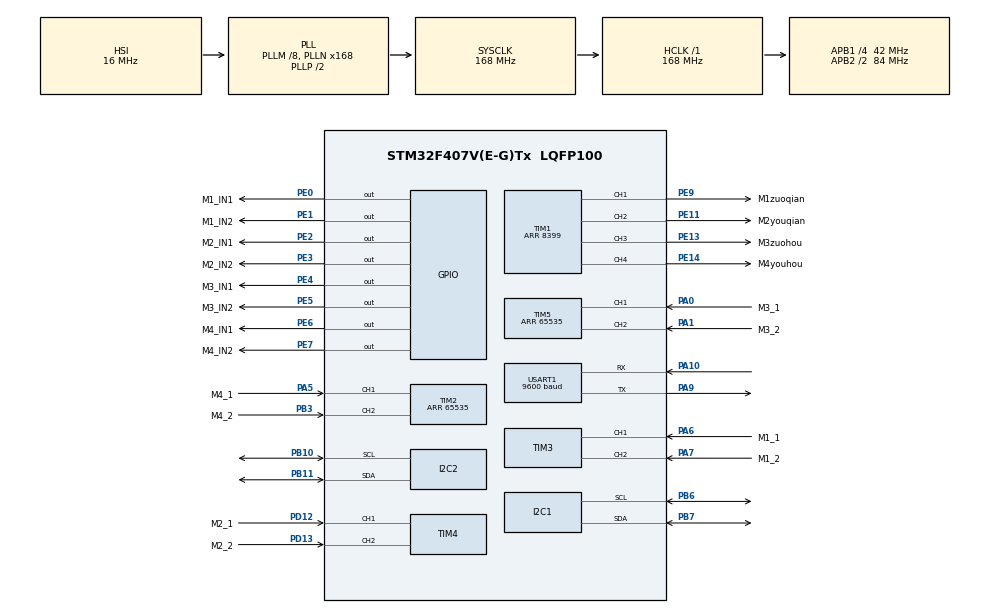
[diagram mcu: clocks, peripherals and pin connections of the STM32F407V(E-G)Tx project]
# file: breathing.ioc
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I2C2.I2C_Mode=I2C_Fast
Mcu.Family=STM32F4
Mcu.Name=STM32F407V(E-G)Tx
Mcu.Package=LQFP100
NVIC.PriorityGroup=NVIC_PRIORITYGROUP_4
NVIC.USART1_IRQn=true\:5\:0\:true\:false\:true\:true\:true\:true
PA0-WKUP.GPIO_Label=M3_1
PA0-WKUP.GPIO_PuPd=GPIO_PULLUP
PA0-WKUP.Signal=S_TIM5_CH1
PA1.GPIO_Label=M3_2
PA1.GPIO_PuPd=GPIO_PULLUP
PA1.Signal=S_TIM5_CH2
PA10.Mode=Asynchronous
PA10.Signal=USART1_RX
PA13.Mode=Serial_Wire
PA13.Signal=SYS_JTMS-SWDIO
PA14.Mode=Serial_Wire
PA14.Signal=SYS_JTCK-SWCLK
PA5.GPIO_Label=M4_1
PA5.GPIO_PuPd=GPIO_PULLUP
PA5.Signal=S_TIM2_CH1_ETR
PA6.GPIO_Label=M1_1
PA6.GPIO_PuPd=GPIO_PULLUP
PA6.Signal=S_TIM3_CH1
PA7.GPIO_Label=M1_2
PA7.GPIO_PuPd=GPIO_PULLUP
PA7.Signal=S_TIM3_CH2
PA9.Mode=Asynchronous
PA9.Signal=USART1_TX
PB10.Mode=I2C
PB10.Signal=I2C2_SCL
PB11.Mode=I2C
PB11.Signal=I2C2_SDA
PB3.GPIO_Label=M4_2
PB3.GPIO_PuPd=GPIO_PULLUP
PB3.Signal=S_TIM2_CH2
PB6.Mode=I2C
PB6.Signal=I2C1_SCL
PB7.Mode=I2C
PB7.Signal=I2C1_SDA
PC14-OSC32_IN.Mode=LSE-External-Oscillator
PC14-OSC32_IN.Signal=RCC_OSC32_IN
PC15-OSC32_OUT.Mode=LSE-External-Oscillator
PC15-OSC32_OUT.Signal=RCC_OSC32_OUT
PD12.GPIO_Label=M2_1
PD12.GPIO_PuPd=GPIO_PULLUP
PD12.Signal=S_TIM4_CH1
PD13.GPIO_Label=M2_2
PD13.GPIO_PuPd=GPIO_PULLUP
PD13.Signal=S_TIM4_CH2
PE0.GPIO_Label=M1_IN1
PE0.GPIO_Speed=GPIO_SPEED_FREQ_HIGH
PE0.Signal=GPIO_Output
PE1.GPIO_Label=M1_IN2
PE1.GPIO_Speed=GPIO_SPEED_FREQ_HIGH
PE1.Signal=GPIO_Output
PE11.GPIO_Label=M2youqian
PE11.Signal=S_TIM1_CH2
PE13.GPIO_Label=M3zuohou
PE13.Signal=S_TIM1_CH3
PE14.GPIO_Label=M4youhou
PE14.Signal=S_TIM1_CH4
PE2.GPIO_Label=M2_IN1
PE2.Signal=GPIO_Output
PE3.GPIO_Label=M2_IN2
PE3.Signal=GPIO_Output
PE4.GPIO_Label=M3_IN1
PE4.Signal=GPIO_Output
PE5.GPIO_Label=M3_IN2
PE5.Signal=GPIO_Output
PE6.GPIO_Label=M4_IN1
PE6.Signal=GPIO_Output
PE7.GPIO_Label=M4_IN2
PE7.Signal=GPIO_Output
PE9.GPIO_Label=M1zuoqian
PE9.Signal=S_TIM1_CH1
PH0-OSC_IN.Mode=HSE-External-Oscillator
PH0-OSC_IN.Signal=RCC_OSC_IN
PH1-OSC_OUT.Mode=HSE-External-Oscillator
PH1-OSC_OUT.Signal=RCC_OSC_OUT
ProjectManager.HeapSize=0x200
ProjectManager.StackSize=0x400
ProjectManager.TargetToolchain=MDK-ARM V5.32
RCC.48MHZClocksFreq_Value=84000000
RCC.AHBFreq_Value=168000000
RCC.APB1CLKDivider=RCC_HCLK_DIV4
RCC.APB1Freq_Value=42000000
RCC.APB1TimFreq_Value=84000000
RCC.APB2CLKDivider=RCC_HCLK_DIV2
RCC.APB2Freq_Value=84000000
RCC.APB2TimFreq_Value=168000000
RCC.CortexFreq_Value=168000000
RCC.HCLKFreq_Value=168000000
RCC.HSE_VALUE=25000000
RCC.HSI_VALUE=16000000
RCC.PLLM=8
RCC.PLLN=168
RCC.SYSCLKFreq_VALUE=168000000
RCC.SYSCLKSource=RCC_SYSCLKSOURCE_PLLCLK
RCC.VCOOutputFreq_Value=336000000
SH.S_TIM1_CH1.0=TIM1_CH1,PWM Generation1 CH1
SH.S_TIM1_CH2.0=TIM1_CH2,PWM Generation2 CH2
SH.S_TIM1_CH3.0=TIM1_CH3,PWM Generation3 CH3
SH.S_TIM1_CH4.0=TIM1_CH4,PWM Generation4 CH4
SH.S_TIM2_CH1_ETR.0=TIM2_CH1,Encoder_Interface
SH.S_TIM2_CH2.0=TIM2_CH2,Encoder_Interface
SH.S_TIM3_CH1.0=TIM3_CH1,Encoder_Interface
SH.S_TIM3_CH2.0=TIM3_CH2,Encoder_Interface
SH.S_TIM4_CH1.0=TIM4_CH1,Encoder_Interface
SH.S_TIM4_CH2.0=TIM4_CH2,Encoder_Interface
SH.S_TIM5_CH1.0=TIM5_CH1,Encoder_Interface
SH.S_TIM5_CH2.0=TIM5_CH2,Encoder_Interface
TIM1.AutoReloadPreload=TIM_AUTORELOAD_PRELOAD_ENABLE
TIM1.Channel-PWM\ Generation1\ CH1=TIM_CHANNEL_1
TIM1.Channel-PWM\ Generation2\ CH2=TIM_CHANNEL_2
TIM1.Channel-PWM\ Generation3\ CH3=TIM_CHANNEL_3
TIM1.Channel-PWM\ Generation4\ CH4=TIM_CHANNEL_4
TIM1.Period=8399
TIM2.ClockDivision=TIM_CLOCKDIVISION_DIV4
TIM2.EncoderMode=TIM_ENCODERMODE_TI12
TIM2.IC1Filter=15
TIM2.IC2Filter=15
TIM2.Period=65535
TIM3.ClockDivision=TIM_CLOCKDIVISION_DIV4
TIM3.EncoderMode=TIM_ENCODERMODE_TI12
TIM3.IC1Filter=15
TIM3.IC2Filter=15
TIM4.ClockDivision=TIM_CLOCKDIVISION_DIV4
TIM4.EncoderMode=TIM_ENCODERMODE_TI12
TIM4.IC1Filter=15
TIM4.IC2Filter=15
TIM5.ClockDivision=TIM_CLOCKDIVISION_DIV4
TIM5.EncoderMode=TIM_ENCODERMODE_TI12
TIM5.IC1Filter=15
TIM5.IC2Filter=15
TIM5.Period=65535
USART1.BaudRate=9600
USART1.VirtualMode=VM_ASYNC
board=custom

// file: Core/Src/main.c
/* USER CODE BEGIN Header */
/**
  ******************************************************************************
  * @file           : main.c
  * @brief          : Main program body
  ******************************************************************************
  * @attention
  *
  * Copyright (c) 2026 STMicroelectronics.
  * All rights reserved.
  *
  * This software is licensed under terms that can be found in the LICENSE file
  * in the root directory of this software component.
  * If no LICENSE file comes with this software, it is provided AS-IS.
  *
  ******************************************************************************
  */
/* USER CODE END Header */
#include "main.h"
#include "i2c.h"
#include "tim.h"
#include "usart.h"
#include "gpio.h"

/* USER CODE BEGIN Includes */
#include "oled.h"
#include "motor.h"
#include "control.h"
/* USER CODE END Includes */

/* USER CODE BEGIN PD */
/* 电机控制参数已移�? control.c（中断里跑）。这里只�? OLED 显示相关�? */
/* USER CODE END PD */

/* USER CODE BEGIN PV */
static uint32_t motorDisplayTick = 0;
/* USER CODE END PV */

void SystemClock_Config(void);

int main(void)
{

  /* MCU Configuration--------------------------------------------------------*/

  /* Reset of all peripherals, Initializes the Flash interface and the Systick. */
  HAL_Init();

  /* Configure the system clock */
  SystemClock_Config();

  /* Initialize all configured peripherals */
  MX_GPIO_Init();
  MX_TIM1_Init();
  MX_TIM3_Init();
  MX_I2C1_Init();
  MX_TIM2_Init();
  MX_TIM4_Init();
  MX_TIM5_Init();
  MX_I2C2_Init();
  MX_USART1_UART_Init();
  /* USER CODE BEGIN 2 */
  /* 电机控制�? SysTick 中断里的 Control_Update() 驱动，这里只做初始化�? */
  Control_Init();

  /* OLED is optional for motor bring-up; do not block motor startup. */
  OLED_Init();

  motorDisplayTick = HAL_GetTick();
  /* USER CODE END 2 */

  /* Infinite loop */
  while (1)
  {

    /* USER CODE BEGIN 3 */
    uint32_t currentTick = HAL_GetTick();

    /* 电机控制已在 SysTick 中断里跑，主循环只负责刷 OLED�? */
    if ((currentTick - motorDisplayTick) >= 100U)
    {
      motorDisplayTick = currentTick;

      OLED_Clear();
      for (uint32_t i = 0; i < MOTOR_COUNT; i++)
      {
        uint8_t y = (uint8_t)(i * 16U);
        OLED_ShowString(0, y, (i == 0U) ? "M1" :
                              (i == 1U) ? "M2" :
                              (i == 2U) ? "M3" : "M4",
                        OLED_SIZE_8, OLED_MODE_NORMAL);

        if (Control_IsTestMode())
        {
          /* 编码器测试模式：显示每路累计计数�? */
          OLED_ShowSignedNum(20, y, Control_GetTotalCount(i), 8, OLED_SIZE_8);
        }
        else
        {
          /* 驱动模式：显�? 100 ms 窗口 RPM�?1 位小数�?�带符号）与输出占空比（%）�?? */
          OLED_ShowFloat(18, y, Control_GetSpeedRpm(i), 4, 1, OLED_SIZE_8);
          OLED_ShowString(62, y, "RPM", OLED_SIZE_8, OLED_MODE_NORMAL);
          OLED_ShowSignedNum(84, y, Control_GetOutputPercent(i), 4, OLED_SIZE_8);
          OLED_ShowString(108, y, "%", OLED_SIZE_8, OLED_MODE_NORMAL);
        }
      }
      OLED_Refresh();
    }
  }
  /* USER CODE END 3 */
}

void SystemClock_Config(void)
{
  RCC_OscInitTypeDef RCC_OscInitStruct = {0};
  RCC_ClkInitTypeDef RCC_ClkInitStruct = {0};

  /** Configure the main internal regulator output voltage
  */
  __HAL_RCC_PWR_CLK_ENABLE();
  __HAL_PWR_VOLTAGESCALING_CONFIG(PWR_REGULATOR_VOLTAGE_SCALE1);

  /** Initializes the RCC Oscillators according to the specified parameters
  * in the RCC_OscInitTypeDef structure.
  */
  RCC_OscInitStruct.OscillatorType = RCC_OSCILLATORTYPE_HSI;
  RCC_OscInitStruct.HSIState = RCC_HSI_ON;
  RCC_OscInitStruct.HSICalibrationValue = RCC_HSICALIBRATION_DEFAULT;
  RCC_OscInitStruct.PLL.PLLState = RCC_PLL_ON;
  RCC_OscInitStruct.PLL.PLLSource = RCC_PLLSOURCE_HSI;
  RCC_OscInitStruct.PLL.PLLM = 8;
  RCC_OscInitStruct.PLL.PLLN = 168;
  RCC_OscInitStruct.PLL.PLLP = RCC_PLLP_DIV2;
  RCC_OscInitStruct.PLL.PLLQ = 4;
  if (HAL_RCC_OscConfig(&RCC_OscInitStruct) != HAL_OK)
  {
    Error_Handler();
  }

  /** Initializes the CPU, AHB and APB buses clocks
  */
  RCC_ClkInitStruct.ClockType = RCC_CLOCKTYPE_HCLK|RCC_CLOCKTYPE_SYSCLK
                              |RCC_CLOCKTYPE_PCLK1|RCC_CLOCKTYPE_PCLK2;
  RCC_ClkInitStruct.SYSCLKSource = RCC_SYSCLKSOURCE_PLLCLK;
  RCC_ClkInitStruct.AHBCLKDivider = RCC_SYSCLK_DIV1;
  RCC_ClkInitStruct.APB1CLKDivider = RCC_HCLK_DIV4;
  RCC_ClkInitStruct.APB2CLKDivider = RCC_HCLK_DIV2;

  if (HAL_RCC_ClockConfig(&RCC_ClkInitStruct, FLASH_LATENCY_5) != HAL_OK)
  {
    Error_Handler();
  }
}

void Error_Handler(void)
{
  __disable_irq();
  while (1)
  {
  }
}
